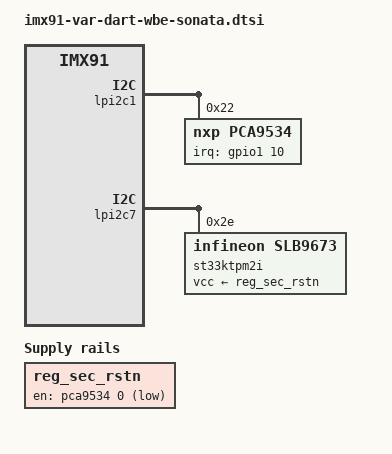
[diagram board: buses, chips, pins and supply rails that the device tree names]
// SPDX-License-Identifier: (GPL-2.0+ OR MIT)
/*
 * Device tree include file to support the DART-MX91 SoM featuring
 * WiFi/BT chipset with 802.15.4, used on the Sonata-Board
 *
 * Copyright 2026 Variscite Ltd.
 */

/ {
	reg_sec_rstn: regulator-sec-rstn {
		compatible = "regulator-fixed";
		regulator-name = "sec-rstn";
		gpio = <&pca9534 0 GPIO_ACTIVE_HIGH>;
		enable-active-low;
	};
};

&ethphy1 {
	mxl-8611x,led0_cfg = <(
		MXL8611X_LEDX_CFG_LINK_UP_RX_ACT_ON |
		MXL8611X_LEDX_CFG_LINK_UP_TX_ACT_ON |
		MXL8611X_LEDX_CFG_TRAFFIC_ACT_BLINK_IND
	)>;
	mxl-8611x,led1_cfg = <(
		MXL8611X_LEDX_CFG_LINK_UP_10MB_ON |
		MXL8611X_LEDX_CFG_LINK_UP_100MB_ON |
		MXL8611X_LEDX_CFG_LINK_UP_1GB_ON
	)>;
};

&iomuxc {
	pinctrl_fec: fecgrp {
		fsl,pins = <
			MX91_PAD_ENET2_RD0__ENET2_RGMII_RD0		0x57e
			MX91_PAD_ENET2_RD1__ENET2_RGMII_RD1		0x57e
			MX91_PAD_ENET2_RD2__ENET2_RGMII_RD2		0x57e
			MX91_PAD_ENET2_RD3__ENET2_RGMII_RD3		0x37e  /* Enable pull-up to strap MXL86110 MDIO address */
			MX91_PAD_ENET2_RXC__ENET2_RGMII_RXC		0x5fe
			MX91_PAD_ENET2_RX_CTL__ENET2_RGMII_RX_CTL	0x57e
			MX91_PAD_ENET2_TD0__ENET2_RGMII_TD0		0x57e
			MX91_PAD_ENET2_TD1__ENET2_RGMII_TD1		0x57e
			MX91_PAD_ENET2_TD2__ENET2_RGMII_TD2		0x57e
			MX91_PAD_ENET2_TD3__ENET2_RGMII_TD3		0x57e
			MX91_PAD_ENET2_TXC__ENET2_RGMII_TXC		0x5fe
			MX91_PAD_ENET2_TX_CTL__ENET2_RGMII_TX_CTL	0x57e
		>;
	};

	pinctrl_fec_sleep: fecsleepgrp {
		fsl,pins = <
			MX91_PAD_ENET2_RD0__GPIO4_IO24			0x51e
			MX91_PAD_ENET2_RD1__GPIO4_IO25			0x51e
			MX91_PAD_ENET2_RD2__GPIO4_IO26			0x51e
			MX91_PAD_ENET2_RD3__GPIO4_IO27			0x31e  /* Enable pull-up to strap MXL86110 MDIO address */
			MX91_PAD_ENET2_RXC__GPIO4_IO23			0x51e
			MX91_PAD_ENET2_RX_CTL__GPIO4_IO22		0x51e
			MX91_PAD_ENET2_TD0__GPIO4_IO19			0x51e
			MX91_PAD_ENET2_TD1__GPIO4_IO18			0x51e
			MX91_PAD_ENET2_TD2__GPIO4_IO17			0x51e
			MX91_PAD_ENET2_TD3__GPIO4_IO16			0x51e
			MX91_PAD_ENET2_TXC__GPIO4_IO21			0x51e
			MX91_PAD_ENET2_TX_CTL__GPIO4_IO20		0x51e
		>;
	};
};

&lpi2c1 {
	pca9534: gpio@22 {
		compatible = "nxp,pca9534";
		reg = <0x22>;
		gpio-controller;
		#gpio-cells = <2>;
		interrupt-parent = <&gpio1>;
		interrupts = <10 IRQ_TYPE_LEVEL_LOW>;

		wlanspi-buf-en {
			gpio-hog;
			gpios = <2 GPIO_ACTIVE_HIGH>;
			output-low;
			line-name = "wlan_spi_en_b";
		};

		pcie2-sel {
			gpio-hog;
			gpios = <6 GPIO_ACTIVE_HIGH>;
			output-high;
			line-name = "pcie2_sel";
		};

		rgb-sel {
			gpio-hog;
			gpios = <7 GPIO_ACTIVE_HIGH>;
			output-low;
			line-name = "rgb_sel";
		};
	};
};

&lpi2c7 {
	st33ktpm2i: st33ktpm2i@2e {
		compatible = "infineon,slb9673";
		vcc-supply = <&reg_sec_rstn>;
		reg = <0x2e>;
	};
};

&lpspi8 {
	cs-gpios = <&gpio2 12 GPIO_ACTIVE_LOW>,
		   <&gpio2 1 GPIO_ACTIVE_LOW>;
};

&pca6408_1 {
	interrupts = <10 IRQ_TYPE_LEVEL_LOW>;
};

&reg_fec_phy_rst {
	off-on-delay-us = <15000>;
	startup-delay-us = <100000>;
};
